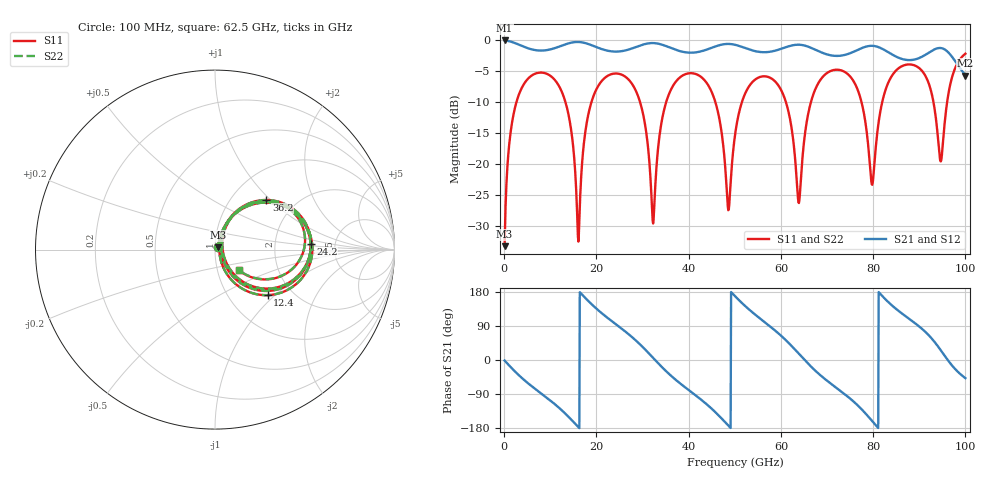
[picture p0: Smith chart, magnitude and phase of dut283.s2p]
! Touchstone file exported from HFSS 2026.1.0
!  File:  C:/ffzhzh/LocalFiles/Ansys_Project_Files/temp_train_TSV_RDL_283_1783679221_33328.aedt
!  Generated:  06:37:26 PM Jul 10, 2026
!  Design:  TSV_RDL
!  Project:  temp_train_TSV_RDL_283_1783679221_33328
! Variables:
!  h_bsmrdl = 3.87um
!  h_ox = 20um
!  h_rdl = 5um
!  h_sub = 64.67um
!  h_tmrdl = 3.93um
!  h_tsv = 64.67um
!  h_via = 3um
!  l_bsmrdl = 602.85um
!  l_sub = 3832.77um
!  l_tmrdl = 376.07um
!  m_sub = 200um
!  pitch = 47.72um
!  r_tsv = 7.47um
!  s_tmrdl = 10um
!  w_bsmrdl = 20.87um
!  w_sub = 500um
!  w_tmrdl = 19.11um
!  x_tsv_center1 = 385.625um
!  x_tsv_center2 = 1009.345um
!  x_tsv_center3 = 1404.525um
!  x_tsv_center4 = 2028.245um
!  x_tsv_center5 = 2423.425um
!  x_tsv_center6 = 3047.145um
# GHz S MA R 50.000000
! Terminal data exported
! Port[1] = TM_RDL1_1_T1
! Port[2] = TM_RDL5_1_T1
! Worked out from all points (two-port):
!   1000 points, 100 MHz to 100 GHz, reference 50 ohm
!   highest |S21| = -0.15 dB at 100 MHz (marker M1); lowest = -5.8 dB at 100 GHz (marker M2)
!   |S21| within 3 dB of the highest: start of sweep to 86.36 GHz; 89.32 GHz to 97.48 GHz (8.161 GHz wide, 8.74 % of centre)
!   lowest |S11| = -33.2 dB at 100 MHz (marker M3), VSWR 1.04, Z = 51.7 + j1.42 ohm
!   |S11| at or under -10 dB: 13.26 GHz to 18.95 GHz (5.689 GHz wide, 35.3 % of centre); 29.44 GHz to 35.15 GHz (5.715 GHz wide, 17.7 % of centre); 45.77 GHz to 51.58 GHz (5.811 GHz wide, 11.9 % of centre)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
!   |S22| runs from -33.2 to -2.3 dB; largest |S21 - S12| = 1.2e-13
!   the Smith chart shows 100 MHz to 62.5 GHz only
!   S11 on the Smith chart (normalised r, x): 100 MHz: 1.03, +0.03; 12.4 GHz: 1.51, -0.90; 24.2 GHz: 3.26, +0.30; 36.2 GHz: 1.44, +0.94; 62.5 GHz: 1.26, -0.30
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0.1  0.02181 39.1  0.9833 -1.4  0.9833 -1.4  0.02181 39.1
! Gamma 0 0 0 0
! Port Impedance 50 0 50 0
3.5  0.385 42.9  0.8997 -43.7  0.8997 -43.7  0.385 42.9
12.4  0.3875 -40.9  0.8905 -131.6  0.8905 -131.6  0.3875 -40.9
16.8  0.09031 67.2  0.9504 173.8  0.9504 173.8  0.09019 67.4
24.2  0.5335 3.5  0.7999 94.6  0.7999 94.6  0.5335 3.6
29.5  0.3109 -45.5  0.8958 40.7  0.8958 40.7  0.311 -45.2
32.2  0.03505 -13.2  0.937 6.9  0.937 6.9  0.03641 -12.4
33.4  0.1369 66.7  0.9265 -8.6  0.9265 -8.6  0.1373 66.1
36.2  0.3983 44.0  0.854 -41.8  0.854 -41.8  0.3985 43.8
44.2  0.4317 -27.3  0.8372 -119.8  0.8372 -119.8  0.4319 -27.5
48.6  0.04242 1.1  0.9221 -172.9  0.9221 -172.9  0.04173 0.8
50.1  0.1755 64.0  0.9066 167.9  0.9066 167.9  0.1751 64.1
56.4  0.5065 10.0  0.791 100.7  0.791 100.7  0.5064 10.1
62.5  0.1743 -41.2  0.8984 34.8  0.8984 34.8  0.1749 -40.5
63.9  0.04845 18.9  0.9087 16.5  0.9087 16.5  0.05098 18.8
66.7  0.3322 62.8  0.8532 -19.4  0.8532 -19.4  0.3326 62.3
76.2  0.4309 -19.4  0.8111 -114.5  0.8111 -114.5  0.4307 -19.7
79.8  0.06795 20.8  0.8905 -161.2  0.8905 -161.2  0.06589 20.8
83.4  0.4602 54.8  0.7858 151.6  0.7858 151.6  0.4601 54.9
89.3  0.6122 6.5  0.6958 95.1  0.6958 95.1  0.6124 6.5
95  0.1291 53.6  0.8496 19.9  0.8496 19.9  0.1296 53.2
100  0.7695 36.6  0.5139 -47.9  0.5139 -47.9  0.7694 36.5
